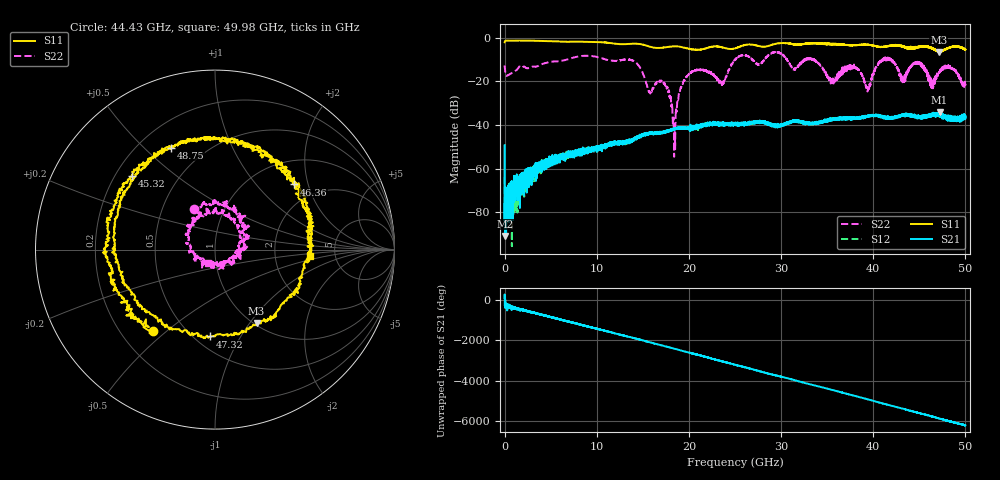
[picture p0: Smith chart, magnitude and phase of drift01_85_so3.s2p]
!Created with skrf (http://scikit-rf.org).
# Hz S RI R 50.0
!freq ReS11 ImS11 ReS21 ImS21 ReS12 ImS12 ReS22 ImS22
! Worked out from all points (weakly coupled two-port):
!   10001 points, 300 kHz to 50 GHz, reference 50 ohm
!   highest |S21| = -34.20 dB at 47.2 GHz (marker M1); lowest = -90.8 dB at 90.3 MHz (marker M2)
!   lowest |S11| = -6.6 dB at 47.1 GHz (marker M3), VSWR 2.77, Z = 51.4 - j53.9 ohm
!   |S11| at or under -10 dB: nowhere
!   |S22| runs from -54.7 to -6.6 dB; largest |S21 - S12| = 0.0039
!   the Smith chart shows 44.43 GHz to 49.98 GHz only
!   S11 on the Smith chart (normalised r, x): 44.43 GHz: 0.34, -0.45; 45.32 GHz: 0.27, +0.35; 46.36 GHz: 1.51, +1.63; 47.32 GHz: 0.59, -0.75; 48.75 GHz: 0.33, +0.61; 49.98 GHz: 3.21, -0.30
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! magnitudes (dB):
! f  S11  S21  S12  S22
! 300 kHz  -2.2  -49.3  -63.7  -12.8
! 90.3 MHz  -1.5  -90.8  -78.2  -16.5
! 255.3 MHz  -1.4  -82.8  -81.5  -17.5
! 8.335 GHz  -1.9  -52.0  -52.2  -8.5
! 16.67 GHz  -4.8  -43.6  -43.7  -19.9
! 18.45 GHz  -4.1  -41.9  -41.8  -43.2
! 19.95 GHz  -5.1  -41.5  -41.3  -17.0
! 23.63 GHz  -4.6  -40.1  -39.4  -20.6
! 25 GHz  -5.0  -39.7  -39.4  -10.1
! 33.34 GHz  -2.6  -39.3  -39.5  -10.1
! 39.43 GHz  -3.3  -36.1  -36.0  -23.5
! 41.67 GHz  -3.8  -36.7  -36.7  -10.2
! 43.24 GHz  -4.1  -35.5  -35.8  -18.7
! 44.43 GHz  -4.9  -35.9  -35.9  -11.9
! 45.32 GHz  -4.2  -36.5  -36.7  -13.0
! 46.36 GHz  -4.9  -35.7  -35.9  -21.7
! 47.1 GHz  -6.6  -35.6  -35.6  -15.6
! 47.2 GHz  -6.2  -34.2  -35.4  -15.9
! 47.32 GHz  -6.3  -35.2  -35.6  -14.8
! 48.75 GHz  -4.2  -38.3  -36.9  -14.7
! 49.98 GHz  -5.5  -35.6  -36.1  -21.4
! 50 GHz  -5.6  -36.6  -36.7  -21.7
